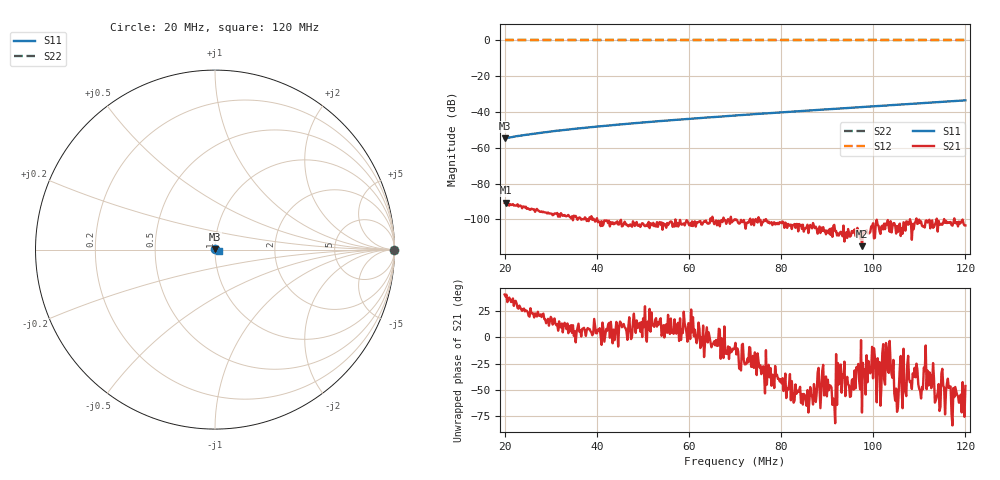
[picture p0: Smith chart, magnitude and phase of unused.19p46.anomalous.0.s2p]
! Anritsu VNA Master:  Model: MS2036C/10/77
! SN:  1601066
! /bd0/18may08.cable.cal/unused.19p46.anomalous.0.s2p
! Existing Calibration Information:
! TYPE:  Current Settings,  Active Cal Settings
! TIME:  05/08/2018 04:01:43 PM,  05/08/2018 03:57:21 PM
! INTERNAL TEMP:  50.3 C,  50.3 C
! # POINTS:  500,  500
! START FREQ:  20.000 MHz,  20.000 MHz
! STOP FREQ:  120.000 MHz,  120.000 MHz
! SOURCE POWER:  High,  High
! IFBW:  50 Hz,  50 Hz
! AVG FACTOR:  1 ,  1
! REF PLANE 1:  0 mm,  0 mm
! REF PLANE 2:  0 mm,  0 mm
! CAL TYPE:  Full S11,  Full S11
! CAL METHOD:  SOLT,  SOLT
! CAL LINE TYPE:  Coax,  Coax
! DUT PORT 1:  K-Conn(F),  K-Conn(F)
! DUT PORT 2:  K-Conn(F),  K-Conn(F)
! CAL STATUS:  OK: Accuracy High,  --
# GHZ S DB R 50.0
! FREQ.GHZ  S11DB  S11A  S21DB  S21A  S12DB  S12A  S22DB  S22A
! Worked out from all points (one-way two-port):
!   500 points, 20 MHz to 120 MHz, reference 50 ohm
!   highest |S21| = -90.69 dB at 20.2 MHz (marker M1); lowest = -115.0 dB at 97.56 MHz (marker M2)
!   lowest |S11| = -54.7 dB at 20 MHz (marker M3), VSWR 1.00, Z = 50.1 + j0.174 ohm
!   |S11| at or under -10 dB: start of sweep to end of sweep
!   |S22| runs from 0.0 to 0.0 dB; largest |S21 - S12| = 1
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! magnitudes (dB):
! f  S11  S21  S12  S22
! 20 MHz  -54.7  -90.7  0.0  0.0
! 20.2 MHz  -54.6  -90.7  0.0  0.0
! 22.81 MHz  -53.5  -91.5  0.0  0.0
! 26.21 MHz  -52.2  -94.4  0.0  0.0
! 31.62 MHz  -50.4  -98.5  0.0  0.0
! 36.83 MHz  -48.9  -99.9  0.0  0.0
! 41.64 MHz  -47.7  -100.6  0.0  0.0
! 47.25 MHz  -46.4  -102.8  0.0  0.0
! 53.47 MHz  -45.1  -102.0  0.0  0.0
! 63.09 MHz  -43.2  -101.8  0.0  0.0
! 64.49 MHz  -43.0  -102.1  0.0  0.0
! 70.1 MHz  -41.9  -100.4  0.0  0.0
! 82.53 MHz  -39.7  -103.2  0.0  0.0
! 86.73 MHz  -39.0  -105.0  0.0  0.0
! 91.94 MHz  -38.2  -106.5  0.0  0.0
! 97.56 MHz  -37.2  -115.0  0.0  0.0
! 103.4 MHz  -36.2  -104.6  0.0  0.0
! 106.6 MHz  -35.7  -101.6  0.0  0.0
! 108 MHz  -35.5  -99.9  0.0  0.0
! 109 MHz  -35.3  -102.1  0.0  0.0
! 116.6 MHz  -34.0  -102.0  0.0  0.0
! 120 MHz  -33.5  -103.4  0.0  0.0
